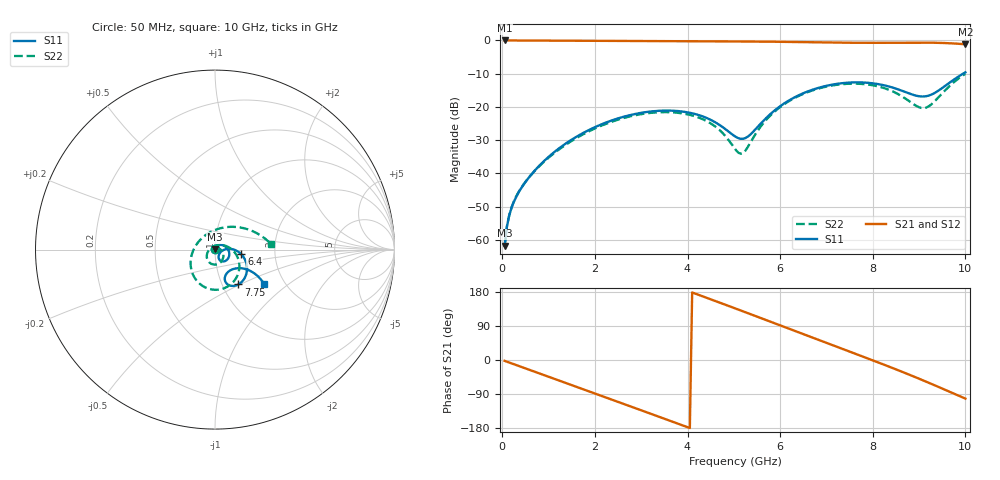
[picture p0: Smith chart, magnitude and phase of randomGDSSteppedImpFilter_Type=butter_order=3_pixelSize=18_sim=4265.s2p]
! freq	dB(S11)	phase(S11)	dB(S12)	phase(S12)
!  dB(S21)	phase(S21)	dB(S22)	phase(S22)
!S-par simulation data
#  GHz  S  DB  R 50
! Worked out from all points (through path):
!   200 points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, 50 MHz to 10 GHz, reference 50 ohm
!   highest |S21| = 0.00 dB at 50 MHz (marker M1); lowest = -1.1 dB at 10 GHz (marker M2)
!   group delay of S21, straight-line fit = 127 ps
!   lowest |S11| = -61.8 dB at 50 MHz (marker M3), VSWR 1.00, Z = 50 + j0.0809 ohm
!   |S11| at or under -10 dB: start of sweep to 9.95 GHz
!   |S22| runs from -61.9 to -10.0 dB; largest |S21 - S12| = 0
!   S11 on the Smith chart (normalised r, x): 50 MHz: 1.00, +0.00; 6.4 GHz: 1.34, -0.07; 7.75 GHz: 1.19, -0.49; 10 GHz: 1.57, -0.67
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0.05  -61.77 82.3  -0.00 -2.3  -0.00 -2.3  -61.89 80.3
0.1  -55.93 82.1  -0.01 -4.5  -0.01 -4.5  -55.98 78.0
0.2  -50.33 80.1  -0.02 -8.9  -0.02 -8.9  -50.21 70.7
0.45  -43.57 78.3  -0.03 -19.9  -0.03 -19.9  -43.50 55.6
1  -35.02 67.7  -0.05 -44.2  -0.05 -44.2  -35.27 26.7
1.75  -27.81 40.0  -0.09 -77.3  -0.09 -77.3  -28.20 -10.6
2.55  -23.23 5.9  -0.15 -112.7  -0.15 -112.7  -23.62 -47.4
3.4  -21.15 -29.9  -0.22 -150.5  -0.22 -150.5  -21.59 -86.2
3.9  -21.41 -49.0  -0.25 -172.8  -0.25 -172.8  -21.97 -110.3
4.4  -23.25 -63.8  -0.28 164.7  -0.28 164.7  -24.17 -137.6
4.75  -25.99 -66.1  -0.29 148.9  -0.29 148.9  -27.75 -163.9
5.05  -29.08 -50.1  -0.31 135.2  -0.31 135.2  -33.08 148.3
5.2  -29.58 -31.6  -0.32 128.4  -0.32 128.4  -33.87 100.8
5.75  -22.64 3.3  -0.37 103.0  -0.37 103.0  -23.11 14.5
6.4  -16.51 -10.3  -0.48 72.8  -0.48 72.8  -16.69 -25.3
6.7  -14.82 -20.2  -0.55 58.9  -0.55 58.9  -15.02 -41.3
7.25  -13.01 -39.5  -0.66 33.6  -0.66 33.6  -13.29 -69.9
7.75  -12.63 -56.1  -0.71 10.6  -0.71 10.6  -13.07 -96.8
8.35  -13.86 -70.6  -0.70 -17.4  -0.70 -17.4  -14.86 -134.6
9.15  -16.79 -51.1  -0.66 -57.0  -0.66 -57.0  -20.22 114.7
9.6  -13.30 -31.6  -0.81 -80.6  -0.81 -80.6  -14.49 40.7
10  -9.60 -34.9  -1.15 -101.8  -1.15 -101.8  -10.03 5.3
